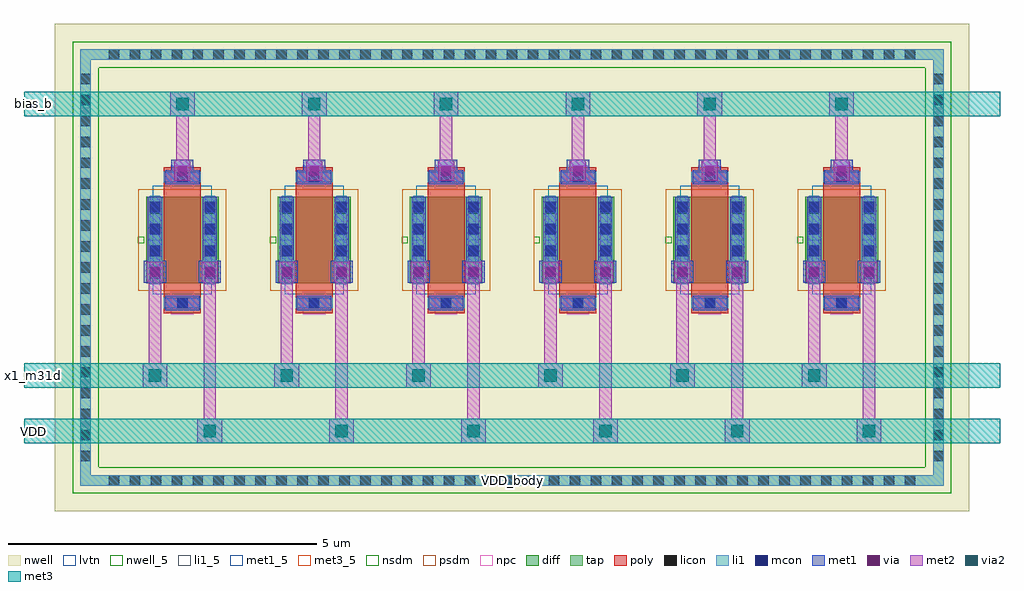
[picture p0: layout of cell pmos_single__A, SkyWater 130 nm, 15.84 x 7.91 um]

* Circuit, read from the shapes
.subckt pmos_single__A VDD VDD_body bias_b x1_m31d
XM1 VDD bias_b x1_m31d VDD_body sky130_fd_pr__pfet_01v8_lvt w=1.4 l=0.6 m=6
.ends

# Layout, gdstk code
import gdstk
lib = gdstk.Library(unit=1e-6, precision=1e-09)
def R(c, l, rs):  # rectangles x0, y0, x1, y1
    for r in rs: c.add(gdstk.rectangle(r[:2], r[2:], *l))
def A(c, l, x, y, w, h, nx, ny, dx, dy):  # array of equal rectangles
    R(c, l, [(x+i*dx, y+j*dy, x+i*dx+w, y+j*dy+h) for i in range(nx) for j in range(ny)])
nwell_5 = (64, 5)
nwell = (64, 20)
diff = (65, 20)
tap = (65, 44)
poly = (66, 20)
licon = (66, 44)
li1_5 = (67, 5)
li1 = (67, 20)
mcon = (67, 44)
met1_5 = (68, 5)
met1 = (68, 20)
via = (68, 44)
met2 = (69, 20)
via2 = (69, 44)
met3_5 = (70, 5)
met3 = (70, 20)
nsdm = (93, 44)
psdm = (94, 20)
npc = (95, 20)
lvtn = (125, 44)

sky130_fd_pr__pfet_01v8_ = lib.new_cell('sky130_fd_pr__pfet_01v8_lvt_PJ46JE')
R(sky130_fd_pr__pfet_01v8_, nwell, [(-0.77,-1.2,0.77,1.2)])
R(sky130_fd_pr__pfet_01v8_, diff, [(-0.59,-0.7,0.59,0.7)])
R(sky130_fd_pr__pfet_01v8_, poly, [(-0.3,-1.185,0.3,1.185)])
A(sky130_fd_pr__pfet_01v8_, licon, -0.53, -0.595, 0.17, 0.17, 1, 4, 0, 0.34)
A(sky130_fd_pr__pfet_01v8_, licon, 0.36, -0.595, 0.17, 0.17, 1, 4, 0, 0.34)
R(sky130_fd_pr__pfet_01v8_, licon, [(-0.085,-1.105,0.085,-0.935), (-0.085,0.935,0.085,1.105)])
R(sky130_fd_pr__pfet_01v8_, li1, [(-0.3,-1.105,0.3,-0.935), (-0.53,-0.72,-0.36,0.72), (0.36,-0.72,0.53,0.72), (-0.3,0.935,0.3,1.105)])
A(sky130_fd_pr__pfet_01v8_, mcon, -0.53, -0.625, 0.17, 0.17, 1, 4, 0, 0.36)
A(sky130_fd_pr__pfet_01v8_, mcon, 0.36, -0.625, 0.17, 0.17, 1, 4, 0, 0.36)
R(sky130_fd_pr__pfet_01v8_, mcon, [(-0.085,-1.105,0.085,-0.935), (-0.085,0.935,0.085,1.105)])
R(sky130_fd_pr__pfet_01v8_, met1, [(-0.28,-1.135,0.28,-0.905), (-0.56,-0.7,-0.33,0.7), (0.33,-0.7,0.56,0.7), (-0.28,0.905,0.28,1.135)])
R(sky130_fd_pr__pfet_01v8_, psdm, [(-0.715,-0.825,0.715,0.825)])
R(sky130_fd_pr__pfet_01v8_, npc, [(-0.185,-1.205,0.185,-0.835), (-0.185,0.835,0.185,1.205)])
R(sky130_fd_pr__pfet_01v8_, lvtn, [(-0.48,-0.88,0.48,0.88)])
sky130_fd_pr__pfet_01v8_.add(gdstk.Label('D', (-0.445,0), layer=67, texttype=5))
sky130_fd_pr__pfet_01v8_.add(gdstk.Label('S', (0.445,0), layer=67, texttype=5))
sky130_fd_pr__pfet_01v8_.add(gdstk.Label('G', (0,1.02), layer=67, texttype=5))

pfet_01v8_lvt_w1p4_l0p6_ = lib.new_cell('pfet_01v8_lvt_W1p4_L0p6_m6__nf1_gboth_sdfull_ng')
R(pfet_01v8_lvt_w1p4_l0p6_, nwell_5, [(0.05,1.15,0.15,1.25)])
R(pfet_01v8_lvt_w1p4_l0p6_, nwell, [(0.05,1.15,0.15,1.25)])
R(pfet_01v8_lvt_w1p4_l0p6_, met1_5, [(0.21,1.2,0.44,1.4), (1.1,1.2,1.33,1.4), (0.49,2.105,1.05,2.335)])
R(pfet_01v8_lvt_w1p4_l0p6_, met1, [(0.21,1.2,0.44,1.4), (1.1,1.2,1.33,1.4), (0.49,2.105,1.05,2.335)])
pfet_01v8_lvt_w1p4_l0p6_.add(gdstk.Reference(sky130_fd_pr__pfet_01v8_, (0.77,1.2)))
pfet_01v8_lvt_w1p4_l0p6_.add(gdstk.Label('D', (0.325,1.3), layer=68, texttype=5))
pfet_01v8_lvt_w1p4_l0p6_.add(gdstk.Label('S', (1.215,1.3), layer=68, texttype=5))
pfet_01v8_lvt_w1p4_l0p6_.add(gdstk.Label('G', (0.77,2.22), layer=68, texttype=5))
pfet_01v8_lvt_w1p4_l0p6_.add(gdstk.Label('B', (0.1,1.2), layer=64, texttype=5))

pmos_single__a = lib.new_cell('pmos_single__A')
R(pmos_single__a, nwell, [(-1.3,-3.2,13.54,4.71)])
R(pmos_single__a, tap, [(-0.885,-2.785,13.125,-2.615), (-0.885,-2.615,-0.715,4.125), (12.955,-2.615,13.125,4.125), (-0.885,4.125,13.125,4.295)])
A(pmos_single__a, licon, -0.425, -2.785, 0.17, 0.17, 39, 2, 0.34, 6.91)
A(pmos_single__a, licon, -0.885, -2.39, 0.17, 0.17, 1, 19, 0, 0.34)
A(pmos_single__a, licon, 12.955, -2.39, 0.17, 0.17, 1, 19, 0, 0.34)
R(pmos_single__a, li1_5, [(6.07,-2.75,6.17,-2.65)])
R(pmos_single__a, li1, [(-0.885,-2.785,13.125,-2.615), (-0.885,-2.615,-0.715,4.125), (12.955,-2.615,13.125,4.125), (-0.885,4.125,13.125,4.295)])
A(pmos_single__a, met1, 0.59, 2.14, 0.36, 0.36, 6, 1, 2.14, 0)
R(pmos_single__a, met1, [(0.145,0.505,0.505,0.865), (1.035,0.505,1.395,0.865), (2.285,0.505,2.645,0.865), (3.175,0.505,3.535,0.865), (4.425,0.505,4.785,0.865), (5.315,0.505,5.675,0.865), (6.565,0.505,6.925,0.865), (7.455,0.505,7.815,0.865), (8.705,0.505,9.065,0.865), (9.595,0.505,9.955,0.865), (10.845,0.505,11.205,0.865), (11.735,0.505,12.095,0.865)])
A(pmos_single__a, via, 0.695, 2.245, 0.15, 0.15, 6, 1, 2.14, 0)
R(pmos_single__a, via, [(0.25,0.61,0.4,0.76), (1.14,0.61,1.29,0.76), (2.39,0.61,2.54,0.76), (3.28,0.61,3.43,0.76), (4.53,0.61,4.68,0.76), (5.42,0.61,5.57,0.76), (6.67,0.61,6.82,0.76), (7.56,0.61,7.71,0.76), (8.81,0.61,8.96,0.76), (9.7,0.61,9.85,0.76), (10.95,0.61,11.1,0.76), (11.84,0.61,11.99,0.76)])
A(pmos_single__a, met2, 1.015, -2.1, 0.4, 0.4, 6, 1, 2.14, 0)
A(pmos_single__a, met2, 1.115, -1.7, 0.2, 2.225, 6, 1, 2.14, 0)
A(pmos_single__a, met2, 0.125, -1.2, 0.4, 0.4, 6, 1, 2.14, 0)
A(pmos_single__a, met2, 0.225, -0.8, 0.2, 1.325, 6, 1, 2.14, 0)
A(pmos_single__a, met2, 0.64, 2.16, 0.26, 0.32, 6, 1, 2.14, 0)
A(pmos_single__a, met2, 0.67, 2.48, 0.2, 0.73, 6, 1, 2.14, 0)
A(pmos_single__a, met2, 0.57, 3.21, 0.4, 0.4, 6, 1, 2.14, 0)
R(pmos_single__a, met2, [(0.195,0.525,0.455,0.845), (1.085,0.525,1.345,0.845), (2.335,0.525,2.595,0.845), (3.225,0.525,3.485,0.845), (4.475,0.525,4.735,0.845), (5.365,0.525,5.625,0.845), (6.615,0.525,6.875,0.845), (7.505,0.525,7.765,0.845), (8.755,0.525,9.015,0.845), (9.645,0.525,9.905,0.845), (10.895,0.525,11.155,0.845), (11.785,0.525,12.045,0.845)])
A(pmos_single__a, via2, 1.115, -2, 0.2, 0.2, 6, 1, 2.14, 0)
A(pmos_single__a, via2, 0.225, -1.1, 0.2, 0.2, 6, 1, 2.14, 0)
A(pmos_single__a, via2, 0.67, 3.31, 0.2, 0.2, 6, 1, 2.14, 0)
R(pmos_single__a, met3_5, [(-1.7,-1.95,-1.6,-1.85), (-1.7,-1.05,-1.6,-0.95), (-1.7,3.36,-1.6,3.46)])
R(pmos_single__a, met3, [(-1.8,-2.1,14.04,-1.7), (-1.8,-1.2,14.04,-0.8), (-1.8,3.21,14.04,3.61)])
R(pmos_single__a, nsdm, [(-1.01,-2.91,13.25,-2.49), (-1.01,-2.49,-0.59,4), (12.83,-2.49,13.25,4), (-1.01,4,13.25,4.42)])
pmos_single__a.add(gdstk.Reference(pfet_01v8_lvt_w1p4_l0p6_, (10.7,0)))
pmos_single__a.add(gdstk.Reference(pfet_01v8_lvt_w1p4_l0p6_, (8.56,0)))
pmos_single__a.add(gdstk.Reference(pfet_01v8_lvt_w1p4_l0p6_, (6.42,0)))
pmos_single__a.add(gdstk.Reference(pfet_01v8_lvt_w1p4_l0p6_, (4.28,0)))
pmos_single__a.add(gdstk.Reference(pfet_01v8_lvt_w1p4_l0p6_, (2.14,0)))
pmos_single__a.add(gdstk.Reference(pfet_01v8_lvt_w1p4_l0p6_, (0,0)))
pmos_single__a.add(gdstk.Label('bias_b', (-1.65,3.41), layer=70, texttype=5))
pmos_single__a.add(gdstk.Label('x1_m31d', (-1.65,-1), layer=70, texttype=5))
pmos_single__a.add(gdstk.Label('VDD', (-1.65,-1.9), layer=70, texttype=5))
pmos_single__a.add(gdstk.Label('VDD_body', (6.12,-2.7), layer=67, texttype=5))

lib.write_gds('pmos_single__A.gds')
